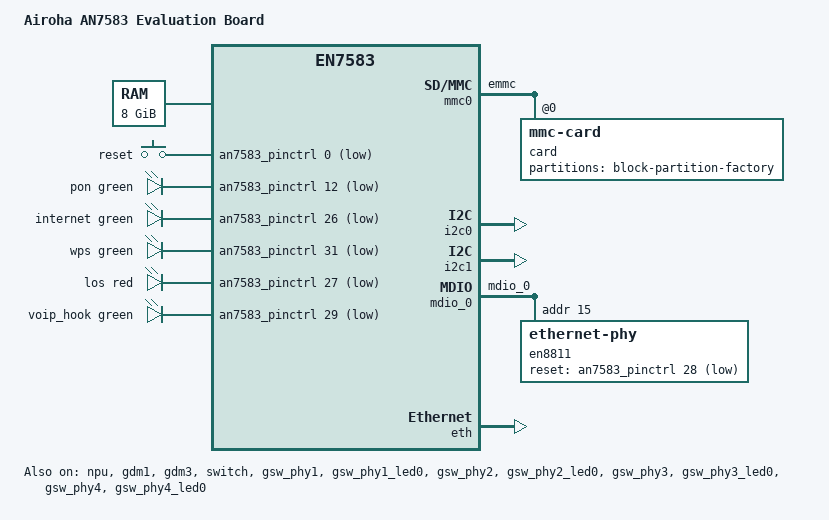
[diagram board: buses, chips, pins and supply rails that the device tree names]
// SPDX-License-Identifier: (GPL-2.0-only OR BSD-2-Clause)
/dts-v1/;

#include <dt-bindings/leds/common.h>
#include <dt-bindings/gpio/gpio.h>
#include <dt-bindings/input/input.h>
#include "an7583.dtsi"

/ {
	model = "Airoha AN7583 Evaluation Board";
	compatible = "airoha,an7583-evb", "airoha,an7583", "airoha,en7583";

	aliases {
		serial0 = &uart1;
	};

	chosen {
		bootargs = "console=ttyS0,115200 earlycon";
		stdout-path = "serial0:115200n8";
	};

	memory@80000000 {
		device_type = "memory";
		reg = <0x0 0x80000000 0x2 0x00000000>;
	};

	gpio-keys-polled {
		compatible = "gpio-keys-polled";
		poll-interval = <100>;

		btn-reset {
			label = "reset";
			linux,code = <BTN_0>;
			gpios = <&an7583_pinctrl 0 GPIO_ACTIVE_LOW>;
		};
	};

	leds {
		compatible = "gpio-leds";

		led-1 {
			label = "pon";
			color = <LED_COLOR_ID_GREEN>;
			function = LED_FUNCTION_STATUS;
			gpios = <&an7583_pinctrl 12 GPIO_ACTIVE_LOW>;
		};

		led-2 {
			label = "internet";
			color = <LED_COLOR_ID_GREEN>;
			function = LED_FUNCTION_STATUS;
			gpios = <&an7583_pinctrl 26 GPIO_ACTIVE_LOW>;
		};

		led-3 {
			label = "wps";
			color = <LED_COLOR_ID_GREEN>;
			function = LED_FUNCTION_STATUS;
			gpios = <&an7583_pinctrl 31 GPIO_ACTIVE_LOW>;
		};

		led-4 {
			label = "los";
			color = <LED_COLOR_ID_RED>;
			function = LED_FUNCTION_STATUS;
			gpios = <&an7583_pinctrl 27 GPIO_ACTIVE_LOW>;
		};

		led-5 {
			label = "voip_hook";
			color = <LED_COLOR_ID_GREEN>;
			function = LED_FUNCTION_STATUS;
			gpios = <&an7583_pinctrl 29 GPIO_ACTIVE_LOW>;
		};
	};
};

&an7583_pinctrl {
	gpio-ranges = <&an7583_pinctrl 0 2 53>;

	mdio0_pins: mdio0-pins {
		conf {
			pins = "mdio_0";
			output-high;
		};
	};

	pcie0_rst_pins: pcie0-rst-pins {
		conf {
			pins = "pcie_reset0";
			drive-open-drain = <1>;
		};
	};

	pcie1_rst_pins: pcie1-rst-pins {
		conf {
			pins = "pcie_reset1";
			drive-open-drain = <1>;
		};
	};

	gswp1_led0_pins: gswp1-led0-pins {
		mux {
			function = "phy1_led0";
			pins = "gpio1";
		};
	};

	gswp2_led0_pins: gswp2-led0-pins {
		mux {
			function = "phy2_led0";
			pins = "gpio2";
		};
	};

	gswp3_led0_pins: gswp3-led0-pins {
		mux {
			function = "phy3_led0";
			pins = "gpio3";
		};
	};

	gswp4_led0_pins: gswp4-led0-pins {
		mux {
			function = "phy4_led0";
			pins = "gpio4";
		};
	};

	mmc_pins: mmc-pins {
		mux {
			function = "emmc";
			groups = "emmc";
		};
	};
};

&mmc0 {
	pinctrl-names = "default", "state_uhs";
	pinctrl-0 = <&mmc_pins>;
	pinctrl-1 = <&mmc_pins>;
	status = "okay";

	#address-cells = <1>;
	#size-cells = <0>;

	card@0 {
		compatible = "mmc-card";
		reg = <0>;

		block {
			compatible = "block-device";
			partitions {
				block-partition-factory {
					partname = "art";

					nvmem-layout {
						compatible = "fixed-layout";
						#address-cells = <1>;
						#size-cells = <1>;

						eeprom_factory_0: eeprom@0 {
							reg = <0x40000 0x1e00>;
						};

						mac_factory_2c0000: mac@2c0000 {
							reg = <0x2c0000 0x6>;
						};

						pon_mac_factory_2c0006: pon_mac@2c0006 {
							reg = <0x2c0006 0x6>;
						};

						onu_type_factory_2e0000: onu_type@2e0000 {
							reg = <0x2e0000 0x10>;
						};

						board_config_factory_2e0010: board_config@2e0010 {
							reg = <0x2e0010 0x8>;
						};
					};
				};
			};
		};
	};
};

&i2c0 {
	status = "okay";
};

&i2c1 {
	status = "okay";
};

&mdio_0 {
	pinctrl-names = "default";
	pinctrl-0 = <&mdio0_pins>;

	en8811: ethernet-phy@f {
		reg = <0xf>;

		reset-gpios = <&an7583_pinctrl 28 GPIO_ACTIVE_LOW>;
		reset-assert-us = <10000>;
		reset-deassert-us = <20000>;

		leds {
			#address-cells = <1>;
			#size-cells = <0>;

			led@0 {
				reg = <0>;
				function = LED_FUNCTION_LAN;
				color = <LED_COLOR_ID_GREEN>;
				function-enumerator = <0>;
				default-state = "keep";
			};

			led@1 {
				reg = <1>;
				function = LED_FUNCTION_LAN;
				color = <LED_COLOR_ID_GREEN>;
				function-enumerator = <1>;
				default-state = "keep";
			};
		};
	};
};

&npu {
	status = "okay";
};

&eth {
	status = "okay";
	nvmem-cells = <&mac_factory_2c0000>;
	nvmem-cell-names = "mac";
};

&gdm1 {
	status = "okay";
};

&gdm3 {
	status = "okay";

	phy-handle = <&en8811>;
	phy-mode = "2500base-x";
};

&switch {
	status = "okay";
};

&gsw_phy1 {
	pinctrl-names = "gbe-led";
	pinctrl-0 = <&gswp1_led0_pins>;
	status = "okay";
};

&gsw_phy1_led0 {
	status = "okay";
	active-low;
};

&gsw_phy2 {
	pinctrl-names = "gbe-led";
	pinctrl-0 = <&gswp2_led0_pins>;
	status = "okay";
};

&gsw_phy2_led0 {
	status = "okay";
	active-low;
};

&gsw_phy3 {
	pinctrl-names = "gbe-led";
	pinctrl-0 = <&gswp3_led0_pins>;
	status = "okay";
};

&gsw_phy3_led0 {
	status = "okay";
	active-low;
};

&gsw_phy4 {
	pinctrl-names = "gbe-led";
	pinctrl-0 = <&gswp4_led0_pins>;
	status = "okay";
};

&gsw_phy4_led0 {
	status = "okay";
	active-low;
};
